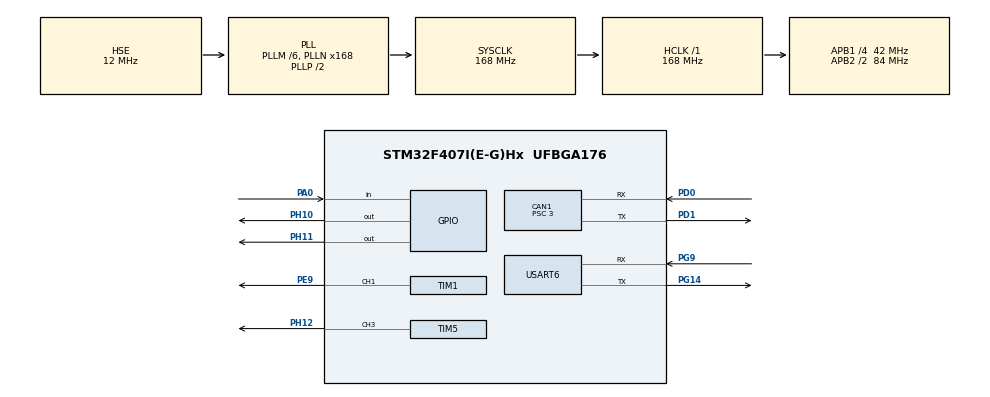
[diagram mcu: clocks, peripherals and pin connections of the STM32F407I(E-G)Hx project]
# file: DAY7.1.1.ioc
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CAN1.ABOM=ENABLE
CAN1.AWUM=DISABLE
CAN1.BS1=CAN_BS1_10TQ
CAN1.BS2=CAN_BS2_3TQ
CAN1.CalculateBaudRate=1000000
CAN1.CalculateTimeBit=1000
CAN1.CalculateTimeQuantum=71.42857142857143
CAN1.NART=ENABLE
CAN1.Prescaler=3
Dma.Request0=USART6_RX
Dma.Request1=USART6_TX
Dma.USART6_RX.0.Direction=DMA_PERIPH_TO_MEMORY
Dma.USART6_RX.0.FIFOMode=DMA_FIFOMODE_DISABLE
Dma.USART6_RX.0.Instance=DMA2_Stream1
Dma.USART6_RX.0.MemDataAlignment=DMA_MDATAALIGN_BYTE
Dma.USART6_RX.0.MemInc=DMA_MINC_ENABLE
Dma.USART6_RX.0.Mode=DMA_NORMAL
Dma.USART6_RX.0.PeriphDataAlignment=DMA_PDATAALIGN_BYTE
Dma.USART6_RX.0.PeriphInc=DMA_PINC_DISABLE
Dma.USART6_RX.0.Priority=DMA_PRIORITY_LOW
Dma.USART6_TX.1.Direction=DMA_MEMORY_TO_PERIPH
Dma.USART6_TX.1.FIFOMode=DMA_FIFOMODE_DISABLE
Dma.USART6_TX.1.Instance=DMA2_Stream6
Dma.USART6_TX.1.MemDataAlignment=DMA_MDATAALIGN_BYTE
Dma.USART6_TX.1.MemInc=DMA_MINC_ENABLE
Dma.USART6_TX.1.Mode=DMA_NORMAL
Dma.USART6_TX.1.PeriphDataAlignment=DMA_PDATAALIGN_BYTE
Dma.USART6_TX.1.PeriphInc=DMA_PINC_DISABLE
Dma.USART6_TX.1.Priority=DMA_PRIORITY_LOW
FREERTOS.Queues01=myQueue01,16,uint16_t,0,Dynamic,NULL,NULL;myQueue02,16,uint16_t,0,Dynamic,NULL,NULL;myQueue03,16,uint16_t,0,Dynamic,NULL,NULL
FREERTOS.Tasks01=LEDTASK,24,128,StartLEDTASK,Default,NULL,Dynamic,NULL,NULL;usartTASK,8,258,StartusartTASK,Default,NULL,Dynamic,NULL,NULL;dianji6020TASK,40,128,Startdianji6020TASK,Default,NULL,Dynamic,NULL,NULL;duojiTASK,8,128,StartduojiTASK,Default,NULL,Dynamic,NULL,NULL
Mcu.Family=STM32F4
Mcu.Name=STM32F407I(E-G)Hx
Mcu.Package=UFBGA176
NVIC.CAN1_RX0_IRQn=true\:5\:0\:false\:false\:true\:true\:true\:true\:true
NVIC.DMA2_Stream1_IRQn=true\:5\:0\:false\:false\:true\:true\:false\:true\:true
NVIC.DMA2_Stream6_IRQn=true\:5\:0\:false\:false\:true\:true\:false\:true\:true
NVIC.PriorityGroup=NVIC_PRIORITYGROUP_4
NVIC.TIM2_IRQn=true\:5\:0\:false\:false\:true\:true\:true\:true\:true
NVIC.TIM3_IRQn=true\:15\:0\:false\:false\:true\:false\:false\:true\:true
NVIC.TimeBase=TIM3_IRQn
NVIC.TimeBaseIP=TIM3
NVIC.USART6_IRQn=true\:5\:0\:false\:false\:true\:true\:true\:true\:true
PA0-WKUP.GPIO_PuPd=GPIO_PULLUP
PA0-WKUP.Signal=GPIO_Input
PA13.Mode=Serial_Wire
PA13.Signal=SYS_JTMS-SWDIO
PA14.Mode=Serial_Wire
PA14.Signal=SYS_JTCK-SWCLK
PD0.Mode=CAN_Activate
PD0.Signal=CAN1_RX
PD1.Mode=CAN_Activate
PD1.Signal=CAN1_TX
PE9.Signal=S_TIM1_CH1
PG14.Mode=Asynchronous
PG14.Signal=USART6_TX
PG9.Mode=Asynchronous
PG9.Signal=USART6_RX
PH0-OSC_IN.Mode=HSE-External-Oscillator
PH0-OSC_IN.Signal=RCC_OSC_IN
PH1-OSC_OUT.Mode=HSE-External-Oscillator
PH1-OSC_OUT.Signal=RCC_OSC_OUT
PH10.Signal=GPIO_Output
PH11.Signal=GPIO_Output
PH12.Signal=S_TIM5_CH3
ProjectManager.HeapSize=0x200
ProjectManager.StackSize=0x400
ProjectManager.TargetToolchain=CMake
RCC.48MHZClocksFreq_Value=84000000
RCC.AHBFreq_Value=168000000
RCC.APB1CLKDivider=RCC_HCLK_DIV4
RCC.APB1Freq_Value=42000000
RCC.APB1TimFreq_Value=84000000
RCC.APB2CLKDivider=RCC_HCLK_DIV2
RCC.APB2Freq_Value=84000000
RCC.APB2TimFreq_Value=168000000
RCC.CortexFreq_Value=168000000
RCC.HCLKFreq_Value=168000000
RCC.HSE_VALUE=12000000
RCC.HSI_VALUE=16000000
RCC.LSE_VALUE=32768
RCC.PLLM=6
RCC.PLLN=168
RCC.PLLSourceVirtual=RCC_PLLSOURCE_HSE
RCC.SYSCLKFreq_VALUE=168000000
RCC.SYSCLKSource=RCC_SYSCLKSOURCE_PLLCLK
RCC.VCOOutputFreq_Value=336000000
SH.S_TIM1_CH1.0=TIM1_CH1,PWM Generation1 CH1
SH.S_TIM5_CH3.0=TIM5_CH3,PWM Generation3 CH3
TIM1.Channel-PWM\ Generation1\ CH1=TIM_CHANNEL_1
TIM1.Period=19999
TIM1.Prescaler=167
TIM2.Period=999
TIM2.Prescaler=83
TIM5.Channel-PWM\ Generation3\ CH3=TIM_CHANNEL_3
TIM5.Period=999
TIM5.Prescaler=83
USART6.VirtualMode=VM_ASYNC
VP_FREERTOS_VS_CMSIS_V2.Mode=CMSIS_V2
VP_SYS_VS_tim3.Mode=TIM3
VP_TIM1_VS_ClockSourceINT.Mode=Internal
VP_TIM2_VS_ClockSourceINT.Mode=Internal
VP_TIM5_VS_ClockSourceINT.Mode=Internal
board=custom

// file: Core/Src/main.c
/* USER CODE BEGIN Header */
/**
  ******************************************************************************
  * @file           : main.c
  * @brief          : Main program body
  ******************************************************************************
  * @attention
  *
  * Copyright (c) 2026 STMicroelectronics.
  * All rights reserved.
  *
  * This software is licensed under terms that can be found in the LICENSE file
  * in the root directory of this software component.
  * If no LICENSE file comes with this software, it is provided AS-IS.
  *
  ******************************************************************************
  */
/* USER CODE END Header */
#include "main.h"
#include "cmsis_os.h"
#include "can.h"
#include "dma.h"
#include "tim.h"
#include "usart.h"
#include "gpio.h"

/* USER CODE BEGIN PV */

/* 控制环节拍信号量：TIM2 中断里释放，电机任务里获取 */
osSemaphoreId_t ctrl_sem = NULL;

/* USER CODE END PV */

void SystemClock_Config(void);
void MX_FREERTOS_Init(void);

int main(void)
{

  /* MCU Configuration--------------------------------------------------------*/

  /* Reset of all peripherals, Initializes the Flash interface and the Systick. */
  HAL_Init();

  /* Configure the system clock */
  SystemClock_Config();

  /* Initialize all configured peripherals */
  MX_GPIO_Init();
  MX_DMA_Init();
  MX_CAN1_Init();
  MX_USART6_UART_Init();
  MX_TIM2_Init();
  MX_TIM1_Init();
  MX_TIM5_Init();

  /* Init scheduler */
  osKernelInitialize();  /* Call init function for freertos objects (in cmsis_os2.c) */
  MX_FREERTOS_Init();

  /* Start scheduler */
  osKernelStart();

  /* We should never get here as control is now taken by the scheduler */

  /* Infinite loop */
  while (1)
  {

  }
}

void SystemClock_Config(void)
{
  RCC_OscInitTypeDef RCC_OscInitStruct = {0};
  RCC_ClkInitTypeDef RCC_ClkInitStruct = {0};

  /** Configure the main internal regulator output voltage
  */
  __HAL_RCC_PWR_CLK_ENABLE();
  __HAL_PWR_VOLTAGESCALING_CONFIG(PWR_REGULATOR_VOLTAGE_SCALE1);

  /** Initializes the RCC Oscillators according to the specified parameters
  * in the RCC_OscInitTypeDef structure.
  */
  RCC_OscInitStruct.OscillatorType = RCC_OSCILLATORTYPE_HSE;
  RCC_OscInitStruct.HSEState = RCC_HSE_ON;
  RCC_OscInitStruct.PLL.PLLState = RCC_PLL_ON;
  RCC_OscInitStruct.PLL.PLLSource = RCC_PLLSOURCE_HSE;
  RCC_OscInitStruct.PLL.PLLM = 6;
  RCC_OscInitStruct.PLL.PLLN = 168;
  RCC_OscInitStruct.PLL.PLLP = RCC_PLLP_DIV2;
  RCC_OscInitStruct.PLL.PLLQ = 4;
  if (HAL_RCC_OscConfig(&RCC_OscInitStruct) != HAL_OK)
  {
    Error_Handler();
  }

  /** Initializes the CPU, AHB and APB buses clocks
  */
  RCC_ClkInitStruct.ClockType = RCC_CLOCKTYPE_HCLK|RCC_CLOCKTYPE_SYSCLK
                              |RCC_CLOCKTYPE_PCLK1|RCC_CLOCKTYPE_PCLK2;
  RCC_ClkInitStruct.SYSCLKSource = RCC_SYSCLKSOURCE_PLLCLK;
  RCC_ClkInitStruct.AHBCLKDivider = RCC_SYSCLK_DIV1;
  RCC_ClkInitStruct.APB1CLKDivider = RCC_HCLK_DIV4;
  RCC_ClkInitStruct.APB2CLKDivider = RCC_HCLK_DIV2;

  if (HAL_RCC_ClockConfig(&RCC_ClkInitStruct, FLASH_LATENCY_5) != HAL_OK)
  {
    Error_Handler();
  }
}

void HAL_TIM_PeriodElapsedCallback(TIM_HandleTypeDef *htim)
{
  if (htim->Instance == TIM3)
  {
    HAL_IncTick();
  }
  /* USER CODE BEGIN Callback 1 */
  if (htim->Instance == TIM2)
  {
    osSemaphoreRelease(ctrl_sem);
  }

  /* USER CODE END Callback 1 */
}

void Error_Handler(void)
{
  __disable_irq();
  while (1)
  {
  }
}

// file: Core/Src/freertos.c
/* USER CODE BEGIN Header */
/**
  ******************************************************************************
  * File Name          : freertos.c
  * Description        : Code for freertos applications
  ******************************************************************************
  * @attention
  *
  * Copyright (c) 2026 STMicroelectronics.
  * All rights reserved.
  *
  * This software is licensed under terms that can be found in the LICENSE file
  * in the root directory of this software component.
  * If no LICENSE file comes with this software, it is provided AS-IS.
  *
  ******************************************************************************
  */
/* USER CODE END Header */

#include "FreeRTOS.h"
#include "task.h"
#include "main.h"
#include "cmsis_os.h"

/* USER CODE BEGIN Includes */
#include <stdio.h>
#include <string.h>
#include "tim.h"          /* htim1 / htim2 / htim5 */
#include "usart.h"        /* huart6 */
#include "can.h"          /* hcan1 */
#include "pid.h"          /* PID_t 与 PID_* 函数 */
#include "dji_motor.h"    /* GM6020_t 与 GM6020_* 函数 */
#include "bsp_can.h"      /* BSP_CAN_Init */
/* USER CODE END Includes */

/* USER CODE BEGIN PD */

/* ================= 电机 ================= */
#define MOTOR_ID             1U
#define MOTOR_OFFLINE_MS     100U

/* ================= PID ================= */
#define PID_DT               0.001f   /* 必须等于 TIM2 周期：1ms */
#define PID_OUT_MAX          15000.0f
#define PID_KP_DEFAULT       75.0f
#define PID_KI_DEFAULT       100.0f
#define PID_KD_DEFAULT       0.02f
#define TARGET_SPEED_DEFAULT 0.0f

/* ================= 串口 ================= */
#define UART_RX_BUF_SIZE     64U      /* 一行指令最长 64 字节 */

/* ================= 舵机 ================= */
#define SERVO_MIN_US         500U     /* 0.5ms 一端极限 */
#define SERVO_MAX_US         2500U    /* 2.5ms 另一端极限 */
#define SERVO_STEP_US        223U     /* 每按一次 223us，约 20 度 */
#define KEY_DEBOUNCE_MS      50U      /* 两次按键最小间隔，防抖 */

/* ========= 电机状态：队列里传的就是这三个数 ========= */
typedef enum
{
  MOTOR_ST_OFFLINE = 0,   /* 离线 */
  MOTOR_ST_SPINUP  = 1,   /* 正在追目标速度 */
  MOTOR_ST_READY   = 2,   /* 已经稳定在目标附近 */
  MOTOR_ST_NONE    = 3    /* 还没收到过状态，只拿来当初始值 */
} MotorState_t;

/* ========= 呼吸灯的一组状态 ========= */
typedef struct
{
  int16_t  duty;      /* 当前亮度 0~1000 */
  int8_t   sgn;       /* +1 变亮，-1 变暗 */
  uint32_t last_ms;   /* 上一次变亮度的时刻 */
} LedBreath_t;
/* ================= LED ================= */
#define LED_PORT             GPIOH
#define LED_GREEN_PIN        GPIO_PIN_11   /* 绿灯：GPIO 常亮 */

#define LED_CH_RED           TIM_CHANNEL_3 /* 红灯：PH12 = TIM5_CH3 */
#define LED_CCR_MAX          1000U         /* PSC=83, ARR=999 -> 1000Hz，CCR 0~1000 = 0~100% */
#define LED_STEP_CCR         10U           /* 每级 1%，共 100 级 */
#define LED_STEP_MS          10U           /* 每 10ms 变一级：100 级 x 10ms = 1 秒走完全程 */

/* ========= 队列 / 串口 / 判定阈值 ========= */
#define QUEUE_LEN            16U      /* 队列里最多排 16 条消息 */
#define UART_TX_BUF_SIZE     96U      /* 串口发送缓冲长度 */
#define UART_PRINT_MS        2000U    /* 每隔 2 秒打印一次状态 */
#define UART_TX_TIMEOUT_MS   100U     /* 串口发送超时 */
#define READY_ERR_RPM        10.0f    /* 误差小于 10rpm 就算稳住了 */
#define SPEED_LIMIT_RPM      300.0f   /* 目标转速上限 */

/* USER CODE END PD */

/* USER CODE BEGIN Variables */

/* ---- 从 main.c 借来的信号量：这里只是声明，定义在 main.c ---- */
extern osSemaphoreId_t ctrl_sem;

/* ---- 电机与 PID 对象 ---- */
GM6020_t motor1;
PID_t    speed_pid;

/* ---- 观测变量：CubeMonitor 看这几个 ---- */
volatile uint32_t g_rx_count     = 0;    /* 收到多少帧 */
volatile uint32_t g_rx_id        = 0;    /* 最近一帧的 ID，应为 0x205 */
volatile float    g_actual_speed = 0.0f; /* 实测转速 rpm */
volatile float    g_pid_out      = 0.0f; /* PID 输出（电压指令） */
volatile float    g_target_speed = TARGET_SPEED_DEFAULT;

/* ---- 串口 DMA 接收缓冲 ---- */
uint8_t          g_uart_rx_buf[UART_RX_BUF_SIZE];
volatile uint8_t g_uart_rx_len  = 0;
volatile uint8_t g_uart_rx_flag = 0;

/* ---- 舵机当前脉宽 ---- */
uint16_t g_servo_ccr_us     = SERVO_MIN_US;   /* 当前脉宽，从 500 开始 */
int8_t   g_servo_dir           = 1;              /* +1 往右走，-1 往左走 */
uint32_t key_last_time = 0;              /* 上次按键时刻，必须是 uint32_t */

/* USER CODE END Variables */
/* Definitions for LEDTASK */
osThreadId_t LEDTASKHandle;
const osThreadAttr_t LEDTASK_attributes = {
  .name = "LEDTASK",
  .stack_size = 128 * 4,
  .priority = (osPriority_t) osPriorityNormal,
};
/* Definitions for usartTASK */
osThreadId_t usartTASKHandle;
const osThreadAttr_t usartTASK_attributes = {
  .name = "usartTASK",
  .stack_size = 258 * 4,
  .priority = (osPriority_t) osPriorityLow,
};
/* Definitions for dianji6020TASK */
osThreadId_t dianji6020TASKHandle;
const osThreadAttr_t dianji6020TASK_attributes = {
  .name = "dianji6020TASK",
  .stack_size = 128 * 4,
  .priority = (osPriority_t) osPriorityHigh,
};
/* Definitions for duojiTASK */
osThreadId_t duojiTASKHandle;
const osThreadAttr_t duojiTASK_attributes = {
  .name = "duojiTASK",
  .stack_size = 128 * 4,
  .priority = (osPriority_t) osPriorityLow,
};
/* Definitions for myQueue01 */
osMessageQueueId_t myQueue01Handle;
const osMessageQueueAttr_t myQueue01_attributes = {
  .name = "myQueue01"
};
/* Definitions for myQueue02 */
osMessageQueueId_t myQueue02Handle;
const osMessageQueueAttr_t myQueue02_attributes = {
  .name = "myQueue02"
};
/* Definitions for myQueue03 */
osMessageQueueId_t myQueue03Handle;
const osMessageQueueAttr_t myQueue03_attributes = {
  .name = "myQueue03"
};

/* USER CODE BEGIN FunctionPrototypes */
static uint8_t App_ParseMotorCmd(const char *s, uint8_t len, float *out);
static void    App_UartSend(const char *s, uint16_t n);
/* USER CODE END FunctionPrototypes */

void StartLEDTASK(void *argument);
void StartusartTASK(void *argument);
void Startdianji6020TASK(void *argument);
void StartduojiTASK(void *argument);

void MX_FREERTOS_Init(void); /* (MISRA C 2004 rule 8.1) */

void MX_FREERTOS_Init(void) {

  /* USER CODE BEGIN RTOS_SEMAPHORES */
  /* ctrl_sem 定义在 main.c，这里创建它（真正分配内存） */
  ctrl_sem = osSemaphoreNew(1, 0, NULL);
  /* USER CODE END RTOS_SEMAPHORES */

  /* Create the queue(s) */
  /* creation of myQueue01 */
  myQueue01Handle = osMessageQueueNew (QUEUE_LEN, sizeof(MotorState_t), &myQueue01_attributes);

  /* creation of myQueue02 */
  myQueue02Handle = osMessageQueueNew (QUEUE_LEN, sizeof(MotorState_t), &myQueue02_attributes);

  /* creation of myQueue03 */
  myQueue03Handle = osMessageQueueNew (QUEUE_LEN, sizeof(MotorState_t), &myQueue03_attributes);

  /* Create the thread(s) */
  /* creation of LEDTASK */
  LEDTASKHandle = osThreadNew(StartLEDTASK, NULL, &LEDTASK_attributes);

  /* creation of usartTASK */
  usartTASKHandle = osThreadNew(StartusartTASK, NULL, &usartTASK_attributes);

  /* creation of dianji6020TASK */
  dianji6020TASKHandle = osThreadNew(Startdianji6020TASK, NULL, &dianji6020TASK_attributes);

  /* creation of duojiTASK */
  duojiTASKHandle = osThreadNew(StartduojiTASK, NULL, &duojiTASK_attributes);

}

/**
 * @brief  呼吸灯走一步：更新亮度并写进 CCR
 * @param  led 呼吸灯的状态（亮度、方向、上次时刻）
 * @retval None
 */
static void Led_Breath_Step(LedBreath_t *led)
{
  __HAL_TIM_SET_COMPARE(&htim5, LED_CH_RED, (uint32_t)led->duty);

  /* 每 10ms 才动一格 */
  if ((HAL_GetTick() - led->last_ms) >= LED_STEP_MS)
  {
    led->last_ms += LED_STEP_MS;
    led->duty = (int16_t)(led->duty + led->sgn * (int16_t)LED_STEP_CCR);

    if (led->duty >= (int16_t)LED_CCR_MAX) {
      led->duty = (int16_t)LED_CCR_MAX; led->sgn = -1;
    }
    if (led->duty <= 0) {
      led->duty = 0;                    led->sgn =  1;
    }
  }
}

void StartLEDTASK(void *argument)
{
  /* USER CODE BEGIN StartLEDTASK */
  MotorState_t state = MOTOR_ST_OFFLINE;   /* 当前电机状态 */
  MotorState_t got;                        /* 从队列收到的状态 */
  LedBreath_t  led   = {0, 1, 0U};         /* 呼吸灯：亮度0，方向+1，时刻0 */

  /* 绿灯仍是普通 GPIO，先灭掉 */
  HAL_GPIO_WritePin(LED_PORT, LED_GREEN_PIN, GPIO_PIN_RESET);

  /* 红灯 = TIM5_CH3 硬件 PWM：启动通道，占空比先清 0 */
  (void)HAL_TIM_PWM_Start(&htim5, LED_CH_RED);
  __HAL_TIM_SET_COMPARE(&htim5, LED_CH_RED, 0U);

  led.last_ms = HAL_GetTick();

  for(;;)
  {
    if (osMessageQueueGet(myQueue01Handle, &got, NULL, 0) == osOK)
    {
      state = got;
    }

    switch (state)
    {
      case MOTOR_ST_OFFLINE:            /* 离线：红灯呼吸，绿灯灭 */
        HAL_GPIO_WritePin(LED_PORT, LED_GREEN_PIN, GPIO_PIN_RESET);
        Led_Breath_Step(&led);
        break;

      case MOTOR_ST_SPINUP:             /* 正在追速度 */
      case MOTOR_ST_READY:              /* 已经稳住 */
      default:                          /* 红灯灭，绿灯常亮 */
        __HAL_TIM_SET_COMPARE(&htim5, LED_CH_RED, 0U);
        HAL_GPIO_WritePin(LED_PORT, LED_GREEN_PIN, GPIO_PIN_SET);
        led.duty    = 0;
        led.sgn     = 1;
        led.last_ms = HAL_GetTick();
        break;
    }

    /* 3. 让出 CPU */
    osDelay(1);
  }
  /* USER CODE END StartLEDTASK */
}

void StartusartTASK(void *argument)
{
  /* USER CODE BEGIN StartusartTASK */
  static char tx[UART_TX_BUF_SIZE];
  uint8_t     local[UART_RX_BUF_SIZE + 1U];  /* +1 是留给结尾 '\0'，否则 n=64 时 local[64] 会越界 */
  uint8_t     n;
  uint8_t     i;
  float       v;
  int         len;
  uint32_t    last_print = 0;

  HAL_UARTEx_ReceiveToIdle_DMA(&huart6, g_uart_rx_buf, sizeof(g_uart_rx_buf));

  for(;;)
  {
    if (g_uart_rx_flag == 1U)
    {
      n = g_uart_rx_len;
      g_uart_rx_flag = 0U;

      if (n > UART_RX_BUF_SIZE) { n = UART_RX_BUF_SIZE; }
      for (i = 0U; i < n; i++) { local[i] = g_uart_rx_buf[i]; }
      local[n] = 0U;

      if (App_ParseMotorCmd((const char *)local, n, &v) == 1U)
      {
        g_target_speed = v;
        PID_SetTarget(&speed_pid, v);
        len = snprintf(tx, sizeof(tx), "target=%d\r\n", (int)v);
        if (len > 0) { App_UartSend(tx, (uint16_t)len); }
      }
      else
      {
        len = snprintf(tx, sizeof(tx), "bad cmd\r\n");
        if (len > 0) { App_UartSend(tx, (uint16_t)len); }
      }
    }

    if ((HAL_GetTick() - last_print) >= UART_PRINT_MS)
    {
      last_print = HAL_GetTick();
      len = snprintf(tx, sizeof(tx), "tgt=%d act=%d out=%d\r\n",
                     (int)g_target_speed, (int)g_actual_speed, (int)g_pid_out);
      if (len > 0) { App_UartSend(tx, (uint16_t)len); }
    }

    osDelay(10);
  }
  /* USER CODE END StartusartTASK */
}

void Startdianji6020TASK(void *argument)
{
  /* USER CODE BEGIN Startdianji6020TASK */
  MotorState_t last_state = MOTOR_ST_NONE;
  MotorState_t state;
  float    err;
  BSP_CAN_Init(&hcan1);
  GM6020_Init(&motor1, MOTOR_ID);
  PID_Init(&speed_pid, PID_KP_DEFAULT, PID_KI_DEFAULT, PID_KD_DEFAULT,
           PID_DT, PID_OUT_MAX);
  PID_SetTarget(&speed_pid, TARGET_SPEED_DEFAULT);
  HAL_TIM_Base_Start_IT(&htim2);
  /* Infinite loop */
  for(;;)
  {
    if (osSemaphoreAcquire(ctrl_sem, osWaitForever) != osOK)
    {
      continue;
    }

    GM6020_UpdateOnline(&motor1, MOTOR_OFFLINE_MS);
    if (motor1.online == 0U)
    {
      PID_Reset(&speed_pid);
      GM6020_SetCurrent(MOTOR_ID, 0);
      g_actual_speed = 0.0f;
      g_pid_out      = 0.0f;
    }
    else
    {
      speed_pid.measure = (float)motor1.speed_rpm;
      (void)PID_Calc(&speed_pid);
      GM6020_SetCurrent(MOTOR_ID, (int16_t)speed_pid.out);
      g_actual_speed = speed_pid.measure;
      g_pid_out      = speed_pid.out;
    }
    g_target_speed = speed_pid.target;

    /* 每 1ms 必须发一帧，不发大疆电机会在 100ms 后自己停 */
    GM6020_SendCommands(&hcan1);

    /* ---- 判状态：只在变化时才丢进队列 ---- */
    if (motor1.online == 0U)
    {
      state = MOTOR_ST_OFFLINE;
    }
    else
    {
      err = g_actual_speed - speed_pid.target;
      if (err < 0.0f) { err = -err; }
      state = (err < READY_ERR_RPM) ? MOTOR_ST_READY : MOTOR_ST_SPINUP;
    }

    if (state != last_state)
    {
      (void)osMessageQueuePut(myQueue01Handle, &state, 0, 0);
      last_state = state;
    }
  }
  /* USER CODE END Startdianji6020TASK */
}

void StartduojiTASK(void *argument)
{
  /* USER CODE BEGIN StartduojiTASK */
  /* Infinite loop */
  uint8_t key_now  = 1U;   /* 本次读到的电平：1=松开，0=按下 */

  HAL_TIM_PWM_Start(&htim1, TIM_CHANNEL_1);
  __HAL_TIM_SET_COMPARE(&htim1, TIM_CHANNEL_1, g_servo_ccr_us);

  for(;;)
  {
    key_now = (uint8_t)HAL_GPIO_ReadPin(GPIOA, GPIO_PIN_0);

    if (((HAL_GetTick() - key_last_time) >= KEY_DEBOUNCE_MS) && (key_now == 0U))
    {
      key_last_time = HAL_GetTick();

      if (g_servo_dir == 1)
      {
        g_servo_ccr_us = (uint16_t)(g_servo_ccr_us + SERVO_STEP_US);
        if (g_servo_ccr_us >= SERVO_MAX_US)
        {
          g_servo_ccr_us = SERVO_MAX_US;
          g_servo_dir = -1;
        }
      }
      else
      {
        g_servo_ccr_us = (uint16_t)(g_servo_ccr_us - SERVO_STEP_US);
        if (g_servo_ccr_us <= SERVO_MIN_US)
        {
          g_servo_ccr_us = SERVO_MIN_US;
          g_servo_dir = 1;
        }
      }

      __HAL_TIM_SET_COMPARE(&htim1, TIM_CHANNEL_1, g_servo_ccr_us);
    }

    osDelay(10);
  }
  /* USER CODE END StartduojiTASK */
}

/* USER CODE BEGIN Application */

/**
 * @brief  解析串口收到的电机指令，格式 "motor+100\r\n"
 * @param  s    收到的字符串，必须以 '\0' 结尾
 * @param  len  字符串长度（不含 '\0'）
 * @param  out  解析出的目标转速写到这里，单位 rpm
 * @return 1 表示解析成功，0 表示格式不对
 * @note   会修改 *out，其他全局变量都不动；只在串口任务里调用，不涉及并发
 */
static uint8_t App_ParseMotorCmd(const char *s, uint8_t len, float *out)
{
  int32_t v = 0;
  int8_t  sign = 1;
  uint8_t i = 5U;

  if (len < 7U) { return 0U; }
  if (strncmp(s, "motor", 5U) != 0) { return 0U; }

  if (s[i] == '+')      { sign =  1; i++; }
  else if (s[i] == '-') { sign = -1; i++; }
  else                  { return 0U; }

  if (i >= len) { return 0U; }

  while ((i < len) && (s[i] >= '0') && (s[i] <= '9'))
  {
    v = v * 10 + (int32_t)(s[i] - '0');
    i++;
  }

  if ((i < len) && (s[i] != '\r')) { return 0U; }

  v *= sign;
  if (v >  (int32_t)SPEED_LIMIT_RPM) { v =  (int32_t)SPEED_LIMIT_RPM; }
  if (v < -(int32_t)SPEED_LIMIT_RPM) { v = -(int32_t)SPEED_LIMIT_RPM; }

  *out = (float)v;
  return 1U;
}

/**
 * @brief  阻塞发送一段字符串到 USART6
 * @param  s  要发的数据
 * @param  n  字节数
 * @retval None
 * @note   阻塞发送，96 字节 @115200 约 8ms；只在串口任务里调用，不要在中断里调
 */
static void App_UartSend(const char *s, uint16_t n)
{
  (void)HAL_UART_Transmit(&huart6, (const uint8_t *)s, n, UART_TX_TIMEOUT_MS);
}

void HAL_CAN_RxFifo0MsgPendingCallback(CAN_HandleTypeDef *hcan)
{
  CAN_RxHeaderTypeDef rx_header;
  uint8_t rx_data[8];

  if (hcan->Instance != CAN1) { return; }

  while (HAL_CAN_GetRxFifoFillLevel(hcan, CAN_RX_FIFO0) > 0U)
  {
    if (HAL_CAN_GetRxMessage(hcan, CAN_RX_FIFO0, &rx_header, rx_data) != HAL_OK)
    {
      break;
    }

    g_rx_count++;
    g_rx_id = rx_header.StdId;

    GM6020_RxDispatcher(rx_header.StdId, rx_data);
  }
}

void HAL_CAN_RxFifo0OverrunCallback(CAN_HandleTypeDef *hcan)
{
  CAN_RxHeaderTypeDef rx_header;
  uint8_t rx_data[8];

  if (hcan->Instance != CAN1) { return; }

  while (HAL_CAN_GetRxFifoFillLevel(hcan, CAN_RX_FIFO0) > 0U)
  {
    if (HAL_CAN_GetRxMessage(hcan, CAN_RX_FIFO0, &rx_header, rx_data) != HAL_OK)
    {
      break;
    }
  }
}

void HAL_UARTEx_RxEventCallback(UART_HandleTypeDef *huart, uint16_t Size)
{
  if (huart->Instance != USART6) { return; }

  if (Size > UART_RX_BUF_SIZE) { Size = UART_RX_BUF_SIZE; }

  g_uart_rx_len  = (uint8_t)Size;
  g_uart_rx_flag = 1U;

  HAL_UARTEx_ReceiveToIdle_DMA(&huart6, g_uart_rx_buf, sizeof(g_uart_rx_buf));
}

/* USER CODE END Application */
